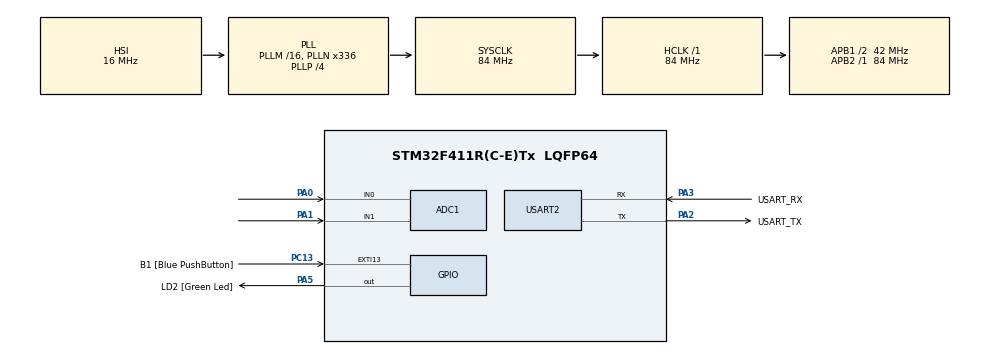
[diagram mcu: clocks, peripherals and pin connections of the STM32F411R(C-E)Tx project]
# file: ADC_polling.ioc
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ADC1.Channel-0\#ChannelRegularConversion=ADC_CHANNEL_0
ADC1.Channel-1\#ChannelRegularConversion=ADC_CHANNEL_1
ADC1.ContinuousConvMode=ENABLE
ADC1.NbrOfConversion=2
ADC1.NbrOfConversionFlag=1
ADC1.Rank-0\#ChannelRegularConversion=1
ADC1.Rank-1\#ChannelRegularConversion=2
ADC1.SamplingTime-0\#ChannelRegularConversion=ADC_SAMPLETIME_84CYCLES
ADC1.SamplingTime-1\#ChannelRegularConversion=ADC_SAMPLETIME_84CYCLES
ADC1.ScanConvMode=ENABLE
ADC1.master=1
Mcu.Family=STM32F4
Mcu.Name=STM32F411R(C-E)Tx
Mcu.Package=LQFP64
NVIC.PriorityGroup=NVIC_PRIORITYGROUP_0
PA0-WKUP.Signal=ADCx_IN0
PA1.Signal=ADCx_IN1
PA13.GPIO_Label=TMS
PA13.Mode=Serial_Wire
PA13.Signal=SYS_JTMS-SWDIO
PA14.GPIO_Label=TCK
PA14.Mode=Serial_Wire
PA14.Signal=SYS_JTCK-SWCLK
PA2.GPIO_Label=USART_TX
PA2.Mode=Asynchronous
PA2.Signal=USART2_TX
PA3.GPIO_Label=USART_RX
PA3.Mode=Asynchronous
PA3.Signal=USART2_RX
PA5.GPIO_Label=LD2 [Green Led]
PA5.Signal=GPIO_Output
PB3.GPIO_Label=SWO
PB3.Signal=SYS_JTDO-SWO
PC13-ANTI_TAMP.GPIO_Label=B1 [Blue PushButton]
PC13-ANTI_TAMP.GPIO_ModeDefaultEXTI=GPIO_MODE_IT_FALLING
PC13-ANTI_TAMP.Signal=GPXTI13
PC14-OSC32_IN.Mode=LSE-External-Oscillator
PC14-OSC32_IN.Signal=RCC_OSC32_IN
PC15-OSC32_OUT.Mode=LSE-External-Oscillator
PC15-OSC32_OUT.Signal=RCC_OSC32_OUT
PH0\ -\ OSC_IN.Mode=HSE-External-Clock-Source
PH0\ -\ OSC_IN.Signal=RCC_OSC_IN
PH1\ -\ OSC_OUT.Mode=HSE-External-Clock-Source
PH1\ -\ OSC_OUT.Signal=RCC_OSC_OUT
ProjectManager.HeapSize=0x200
ProjectManager.StackSize=0x400
ProjectManager.TargetToolchain=STM32CubeIDE
RCC.48MHZClocksFreq_Value=84000000
RCC.AHBFreq_Value=84000000
RCC.APB1CLKDivider=RCC_HCLK_DIV2
RCC.APB1Freq_Value=42000000
RCC.APB1TimFreq_Value=84000000
RCC.APB2Freq_Value=84000000
RCC.APB2TimFreq_Value=84000000
RCC.CortexFreq_Value=84000000
RCC.FLatency-AdvancedSettings=FLASH_LATENCY_2
RCC.HCLKFreq_Value=84000000
RCC.HSE_VALUE=8000000
RCC.HSI_VALUE=16000000
RCC.PLLN=336
RCC.PLLP=RCC_PLLP_DIV4
RCC.SYSCLKFreq_VALUE=84000000
RCC.SYSCLKSource=RCC_SYSCLKSOURCE_PLLCLK
RCC.VCOOutputFreq_Value=336000000
SH.ADCx_IN0.0=ADC1_IN0,IN0
SH.ADCx_IN1.0=ADC1_IN1,IN1
USART2.VirtualMode=VM_ASYNC
board=NUCLEO-F411RE

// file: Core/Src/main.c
/* USER CODE BEGIN Header */
/**
  ******************************************************************************
  * @file           : main.c
  * @brief          : Main program body
  ******************************************************************************
  * @attention
  *
  * Copyright (c) 2025 STMicroelectronics.
  * All rights reserved.
  *
  * This software is licensed under terms that can be found in the LICENSE file
  * in the root directory of this software component.
  * If no LICENSE file comes with this software, it is provided AS-IS.
  *
  ******************************************************************************
  */
/* USER CODE END Header */
#include "main.h"

/* USER CODE BEGIN Includes */
#include <stdio.h>
/* USER CODE END Includes */

ADC_HandleTypeDef hadc1;

UART_HandleTypeDef huart2;

void SystemClock_Config(void);
static void MX_GPIO_Init(void);
static void MX_USART2_UART_Init(void);
static void MX_ADC1_Init(void);
/* USER CODE BEGIN PFP */
int __io_putchar(int ch)
{
	HAL_UART_Transmit(&huart2, (uint8_t*)&ch, 1, 0xFFFF);
	return ch;
}
/* USER CODE END PFP */

int main(void)
{

  /* USER CODE BEGIN 1 */
	float volt1 = 0.0, volt2 = 0.0;
	uint32_t value1 = 0, value2 = 0, ad_max = 4095;
  /* USER CODE END 1 */

  /* MCU Configuration--------------------------------------------------------*/

  /* Reset of all peripherals, Initializes the Flash interface and the Systick. */
  HAL_Init();

  /* Configure the system clock */
  SystemClock_Config();

  /* Initialize all configured peripherals */
  MX_GPIO_Init();
  MX_USART2_UART_Init();
  MX_ADC1_Init();

  /* Infinite loop */
  /* USER CODE BEGIN WHILE */
  while (1)
  {
	  HAL_ADC_Start(&hadc1);
	  HAL_ADC_PollForConversion(&hadc1, 100);
	  value1 = HAL_ADC_GetValue(&hadc1);
	  HAL_ADC_PollForConversion(&hadc1, 100);
	  value2 = HAL_ADC_GetValue(&hadc1);
	  HAL_ADC_Stop(&hadc1);
	  volt1 = (float)((value1 * 3.3) / ad_max);
	  volt2 = (float)((value2 * 3.3) / ad_max);
	  printf("\n\r adc value1 = %d, volt1 = %1.2f, \t value2 = %d, volt2 = %1.2f", value1, volt1, value2, volt2);
	  HAL_Delay(10);
    /* USER CODE END WHILE */

  }
}

void SystemClock_Config(void)
{
  RCC_OscInitTypeDef RCC_OscInitStruct = {0};
  RCC_ClkInitTypeDef RCC_ClkInitStruct = {0};

  /** Configure the main internal regulator output voltage
  */
  __HAL_RCC_PWR_CLK_ENABLE();
  __HAL_PWR_VOLTAGESCALING_CONFIG(PWR_REGULATOR_VOLTAGE_SCALE1);

  /** Initializes the RCC Oscillators according to the specified parameters
  * in the RCC_OscInitTypeDef structure.
  */
  RCC_OscInitStruct.OscillatorType = RCC_OSCILLATORTYPE_HSI;
  RCC_OscInitStruct.HSIState = RCC_HSI_ON;
  RCC_OscInitStruct.HSICalibrationValue = RCC_HSICALIBRATION_DEFAULT;
  RCC_OscInitStruct.PLL.PLLState = RCC_PLL_ON;
  RCC_OscInitStruct.PLL.PLLSource = RCC_PLLSOURCE_HSI;
  RCC_OscInitStruct.PLL.PLLM = 16;
  RCC_OscInitStruct.PLL.PLLN = 336;
  RCC_OscInitStruct.PLL.PLLP = RCC_PLLP_DIV4;
  RCC_OscInitStruct.PLL.PLLQ = 4;
  if (HAL_RCC_OscConfig(&RCC_OscInitStruct) != HAL_OK)
  {
    Error_Handler();
  }

  /** Initializes the CPU, AHB and APB buses clocks
  */
  RCC_ClkInitStruct.ClockType = RCC_CLOCKTYPE_HCLK|RCC_CLOCKTYPE_SYSCLK
                              |RCC_CLOCKTYPE_PCLK1|RCC_CLOCKTYPE_PCLK2;
  RCC_ClkInitStruct.SYSCLKSource = RCC_SYSCLKSOURCE_PLLCLK;
  RCC_ClkInitStruct.AHBCLKDivider = RCC_SYSCLK_DIV1;
  RCC_ClkInitStruct.APB1CLKDivider = RCC_HCLK_DIV2;
  RCC_ClkInitStruct.APB2CLKDivider = RCC_HCLK_DIV1;

  if (HAL_RCC_ClockConfig(&RCC_ClkInitStruct, FLASH_LATENCY_2) != HAL_OK)
  {
    Error_Handler();
  }
}

static void MX_ADC1_Init(void)
{

  ADC_ChannelConfTypeDef sConfig = {0};

  /** Configure the global features of the ADC (Clock, Resolution, Data Alignment and number of conversion)
  */
  hadc1.Instance = ADC1;
  hadc1.Init.ClockPrescaler = ADC_CLOCK_SYNC_PCLK_DIV4;
  hadc1.Init.Resolution = ADC_RESOLUTION_12B;
  hadc1.Init.ScanConvMode = ENABLE;
  hadc1.Init.ContinuousConvMode = ENABLE;
  hadc1.Init.DiscontinuousConvMode = DISABLE;
  hadc1.Init.ExternalTrigConvEdge = ADC_EXTERNALTRIGCONVEDGE_NONE;
  hadc1.Init.ExternalTrigConv = ADC_SOFTWARE_START;
  hadc1.Init.DataAlign = ADC_DATAALIGN_RIGHT;
  hadc1.Init.NbrOfConversion = 2;
  hadc1.Init.DMAContinuousRequests = DISABLE;
  hadc1.Init.EOCSelection = ADC_EOC_SINGLE_CONV;
  if (HAL_ADC_Init(&hadc1) != HAL_OK)
  {
    Error_Handler();
  }

  /** Configure for the selected ADC regular channel its corresponding rank in the sequencer and its sample time.
  */
  sConfig.Channel = ADC_CHANNEL_0;
  sConfig.Rank = 1;
  sConfig.SamplingTime = ADC_SAMPLETIME_84CYCLES;
  if (HAL_ADC_ConfigChannel(&hadc1, &sConfig) != HAL_OK)
  {
    Error_Handler();
  }

  /** Configure for the selected ADC regular channel its corresponding rank in the sequencer and its sample time.
  */
  sConfig.Channel = ADC_CHANNEL_1;
  sConfig.Rank = 2;
  if (HAL_ADC_ConfigChannel(&hadc1, &sConfig) != HAL_OK)
  {
    Error_Handler();
  }

}

static void MX_USART2_UART_Init(void)
{

  huart2.Instance = USART2;
  huart2.Init.BaudRate = 115200;
  huart2.Init.WordLength = UART_WORDLENGTH_8B;
  huart2.Init.StopBits = UART_STOPBITS_1;
  huart2.Init.Parity = UART_PARITY_NONE;
  huart2.Init.Mode = UART_MODE_TX_RX;
  huart2.Init.HwFlowCtl = UART_HWCONTROL_NONE;
  huart2.Init.OverSampling = UART_OVERSAMPLING_16;
  if (HAL_UART_Init(&huart2) != HAL_OK)
  {
    Error_Handler();
  }

}

static void MX_GPIO_Init(void)
{
  GPIO_InitTypeDef GPIO_InitStruct = {0};

  /* GPIO Ports Clock Enable */
  __HAL_RCC_GPIOC_CLK_ENABLE();
  __HAL_RCC_GPIOH_CLK_ENABLE();
  __HAL_RCC_GPIOA_CLK_ENABLE();
  __HAL_RCC_GPIOB_CLK_ENABLE();

  /*Configure GPIO pin Output Level */
  HAL_GPIO_WritePin(LD2_GPIO_Port, LD2_Pin, GPIO_PIN_RESET);

  /*Configure GPIO pin : B1_Pin */
  GPIO_InitStruct.Pin = B1_Pin;
  GPIO_InitStruct.Mode = GPIO_MODE_IT_FALLING;
  GPIO_InitStruct.Pull = GPIO_NOPULL;
  HAL_GPIO_Init(B1_GPIO_Port, &GPIO_InitStruct);

  /*Configure GPIO pin : LD2_Pin */
  GPIO_InitStruct.Pin = LD2_Pin;
  GPIO_InitStruct.Mode = GPIO_MODE_OUTPUT_PP;
  GPIO_InitStruct.Pull = GPIO_NOPULL;
  GPIO_InitStruct.Speed = GPIO_SPEED_FREQ_LOW;
  HAL_GPIO_Init(LD2_GPIO_Port, &GPIO_InitStruct);

}

void Error_Handler(void)
{
  __disable_irq();
  while (1)
  {
  }
}
